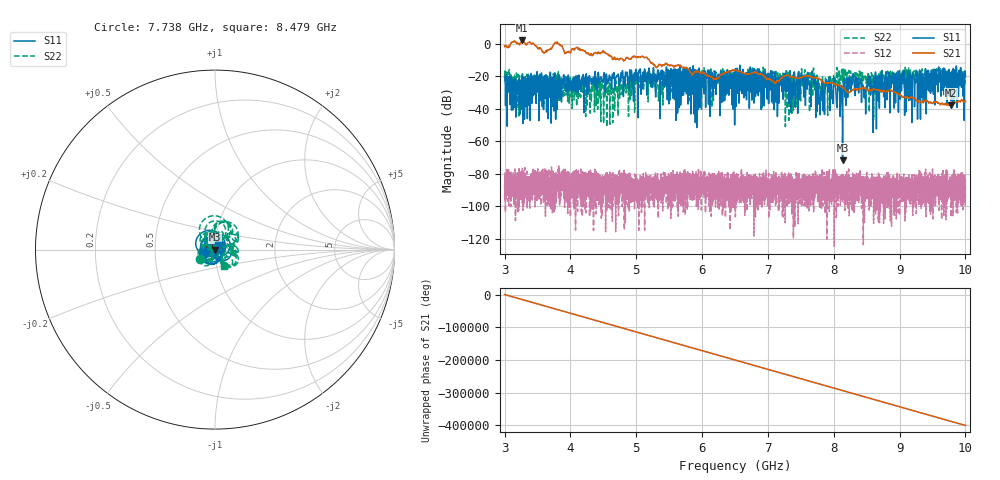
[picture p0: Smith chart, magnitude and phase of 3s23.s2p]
!Agilent Technologies,E8363B,MY43030572,A.06.04.32
!Agilent E8363B: A.06.04.32
!Date: Monday, June 06, 2011 14:46:56
!Correction: S11(Full 2 Port(1,2)) S21(Full 2 Port(1,2)) S12(Full 2 Port(1,2)) S22(Full 2 Port(1,2))
!S2P File: Measurements: S11, S21, S12, S22:
# Hz S  dB  R 50
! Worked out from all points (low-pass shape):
!   6401 points, 3 GHz to 10 GHz, reference 50 ohm
!   highest |S21| = 2.07 dB at 3.268 GHz (marker M1); lowest = -37.9 dB at 9.775 GHz (marker M2)
!   |S21| within 3 dB of the highest: 3.08 GHz to 3.46 GHz (379.8 MHz wide, 11.6 % of centre); 3.738 GHz to 3.852 GHz (114.2 MHz wide, 3.01 % of centre)
!   lowest |S11| = -71.8 dB at 8.134 GHz (marker M3), VSWR 1.00, Z = 50 + j0.000158 ohm
!   |S11| at or under -10 dB: start of sweep to end of sweep
!   |S22| runs from -51.2 to -14.3 dB; largest |S21 - S12| = 1.3
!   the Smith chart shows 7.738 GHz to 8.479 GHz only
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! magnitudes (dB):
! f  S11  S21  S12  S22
! 3 GHz  -20.8  -1.2  -86.6  -16.4
! 3.268 GHz  -19.4  2.1  -98.1  -19.0
! 3.605 GHz  -19.7  -5.6  -86.6  -19.7
! 3.789 GHz  -24.4  0.4  -88.6  -19.4
! 4.167 GHz  -22.5  -3.8  -82.6  -24.2
! 4.648 GHz  -21.3  -9.2  -90.4  -29.1
! 5.131 GHz  -16.2  -8.5  -86.9  -19.3
! 5.334 GHz  -19.4  -13.5  -88.8  -30.1
! 6.192 GHz  -19.8  -21.4  -92.5  -19.5
! 6.5 GHz  -19.1  -16.4  -84.4  -21.7
! 7.096 GHz  -40.6  -23.6  -87.2  -23.4
! 7.352 GHz  -29.1  -20.4  -86.2  -20.4
! 7.667 GHz  -17.8  -20.3  -88.4  -18.8
! 7.83 GHz  -24.3  -23.3  -90.6  -20.7
! 7.904 GHz  -26.9  -24.1  -93.5  -31.2
! 8.134 GHz  -71.8  -26.7  -85.3  -23.5
! 8.275 GHz  -22.5  -28.3  -97.3  -19.9
! 8.455 GHz  -27.2  -27.3  -98.3  -21.7
! 8.543 GHz  -20.1  -28.4  -89.5  -24.1
! 8.834 GHz  -19.4  -28.8  -91.6  -20.9
! 9.775 GHz  -18.6  -37.9  -93.2  -18.7
! 10 GHz  -19.2  -35.2  -95.9  -19.6
